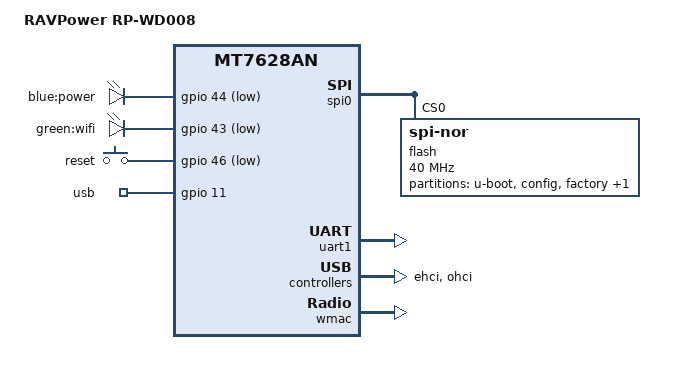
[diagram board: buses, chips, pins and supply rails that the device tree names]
// SPDX-License-Identifier: GPL-2.0-or-later OR MIT

#include "mt7628an.dtsi"

#include <dt-bindings/gpio/gpio.h>
#include <dt-bindings/input/input.h>

/ {
	compatible = "ravpower,rp-wd008", "mediatek,mt7628an-soc";
	model = "RAVPower RP-WD008";

	aliases {
		led-boot = &led_power;
		led-failsafe = &led_power;
		led-running = &led_power;
		led-upgrade = &led_power;
		label-mac-device = &ethernet;
	};

	chosen {
		bootargs = "console=ttyS0,57600";
	};

	leds {
		compatible = "gpio-leds";

		led_power: power {
			label = "blue:power";
			gpios = <&gpio 44 GPIO_ACTIVE_LOW>;
			default-state = "on";
		};

		wifi {
			label = "green:wifi";
			gpios = <&gpio 43 GPIO_ACTIVE_LOW>;
			linux,default-trigger = "phy0tpt";
		};
	};

	keys {
		compatible = "gpio-keys";

		reset {
			label = "reset";
			gpios = <&gpio 46 GPIO_ACTIVE_LOW>;
			linux,code = <KEY_RESTART>;
		};

	};

	gpio_export {
		compatible = "gpio-export";
		#size-cells = <0>;

		usb {
			gpio-export,name = "usb";
			gpio-export,output = <1>;
			gpios = <&gpio 11 GPIO_ACTIVE_HIGH>;
		};
	};
};

&state_default {
	gpio {
		groups = "wdt", "gpio", "wled_an", "p0led_an", "p1led_an", "i2s";
		function = "gpio";
	};
};

&spi0 {
	status = "okay";

	flash@0 {
		compatible = "jedec,spi-nor";
		reg = <0>;
		spi-max-frequency = <40000000>;
		m25p,fast-read;

		partitions {
			compatible = "fixed-partitions";
			#address-cells = <1>;
			#size-cells = <1>;

			partition@0 {
				label = "u-boot";
				reg = <0x0 0x30000>;
				read-only;
			};

			partition@30000 {
				label = "config";
				reg = <0x30000 0x10000>;
				read-only;
			};

			factory: partition@40000 {
				label = "factory";
				reg = <0x40000 0x10000>;
			};

			partition@50000 {
				compatible = "denx,uimage";
				label = "firmware";
				reg = <0x50000 0x7b0000>;
			};
		};
	};
};

&uart1 {
	status = "okay";
};

&ehci {
	status = "okay";
};

&ohci {
	status = "okay";
};

&ethernet {
	mtd-mac-address = <&factory 0x28>;
};

&wmac {
	status = "okay";
	mtd-mac-address = <&factory 0x4>;
};
